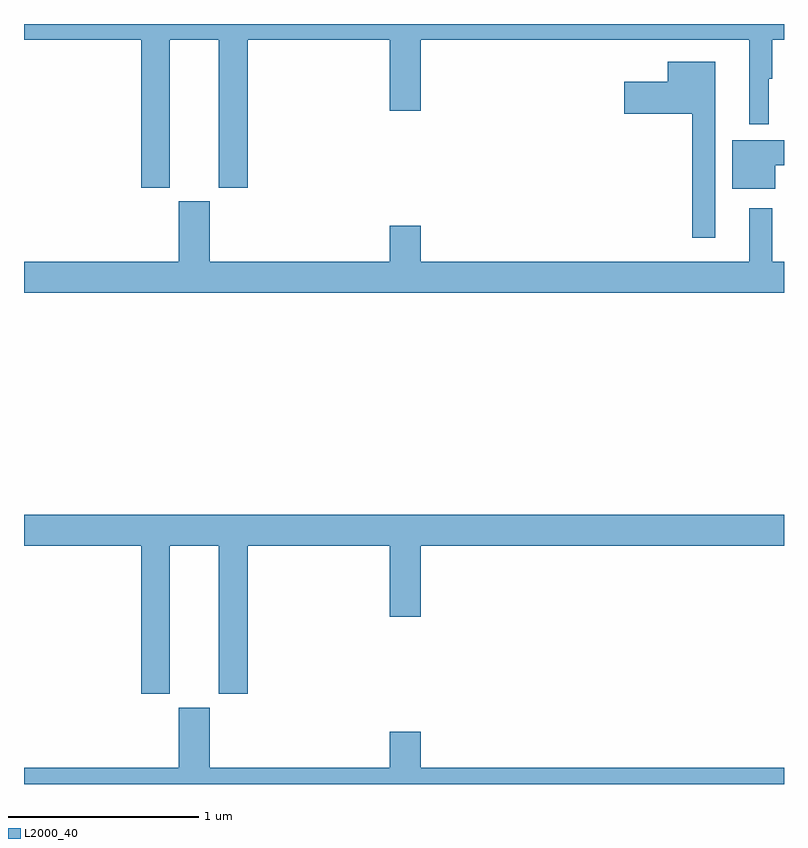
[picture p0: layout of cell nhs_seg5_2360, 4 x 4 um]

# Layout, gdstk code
import gdstk
lib = gdstk.Library(unit=1e-6, precision=1e-09)
def P(c, l, *ps):  # polygons
    for p in ps: c.add(gdstk.Polygon(p, *l))
L2000_40 = (2000, 40)

nhs_seg5_2360 = lib.new_cell('nhs_seg5_2360')
P(nhs_seg5_2360, L2000_40, [(247.768,900.716),(248.024,900.716),(248.024,899.937),(248.177,899.937),(248.177,900.716),(248.924,900.716),(248.924,900.342),(249.088,900.342),(249.088,900.716),(250.817,900.716),(250.817,900.272),(250.921,900.272),(250.921,900.511),(250.939,900.511),(250.939,900.716),(251,900.716),(251,900.799),(247,900.799),(247,900.716),(247.616,900.716),(247.616,899.937),(247.768,899.937)],
  [(250.639,900.601),(250.388,900.601),(250.388,900.496),(250.158,900.496),(250.158,900.326),(250.518,900.326),(250.518,899.673),(250.639,899.673)],
  [(250.954,900.056),(251,900.056),(251,900.187),(250.727,900.187),(250.727,899.933),(250.954,899.933)],
  [(251,899.548),(250.939,899.548),(250.939,899.83),(250.817,899.83),(250.817,899.548),(249.088,899.548),(249.088,899.737),(248.924,899.737),(248.924,899.548),(247.978,899.548),(247.978,899.865),(247.814,899.865),(247.814,899.548),(247,899.548),(247,899.384),(251,899.384)],
  [(247,898.052),(247.616,898.052),(247.616,897.273),(247.768,897.273),(247.768,898.052),(248.024,898.052),(248.024,897.273),(248.177,897.273),(248.177,898.052),(248.924,898.052),(248.924,897.678),(249.088,897.678),(249.088,898.052),(251,898.052),(251,898.216),(247,898.216)],
  [(251,896.884),(249.088,896.884),(249.088,897.073),(248.924,897.073),(248.924,896.884),(247.978,896.884),(247.978,897.201),(247.814,897.201),(247.814,896.884),(247,896.884),(247,896.799),(251,896.799)])

lib.write_gds('nhs_seg5_2360.gds')
